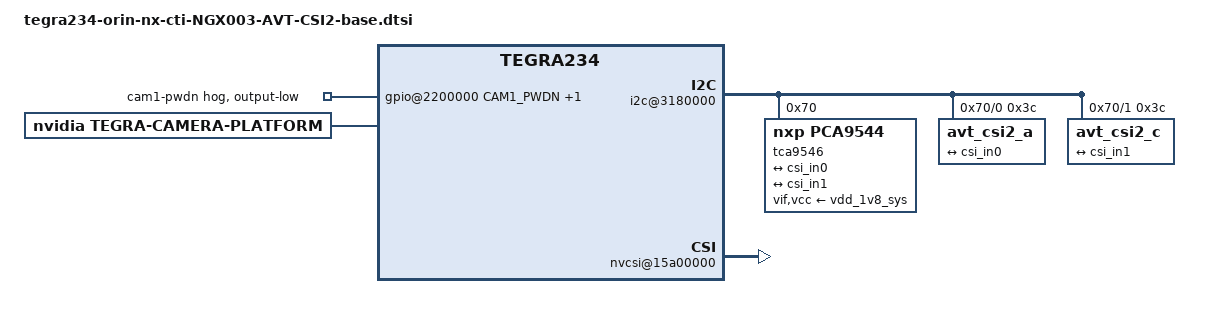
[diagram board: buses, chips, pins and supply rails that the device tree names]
/*
 * Copyright (c) 2018-2019, NVIDIA CORPORATION.  All rights reserved.
 *
 * This program is free software; you can redistribute it and/or modify
 * it under the terms of the GNU General Public License as published by
 * the Free Software Foundation; either version 2 of the License, or
 * (at your option) any later version.
 *
 * This program is distributed in the hope that it will be useful, but WITHOUT
 * ANY WARRANTY; without even the implied warranty of MERCHANTABILITY or
 * FITNESS FOR A PARTICULAR PURPOSE.  See the GNU General Public License for
 * more details.
 *
 * You should have received a copy of the GNU General Public License
 * along with this program.  If not, see <http://www.gnu.org/licenses/>.
 */

#include "dt-bindings/gpio/tegra234-gpio.h"
#define CAM1_PWDN	TEGRA234_MAIN_GPIO(H, 6)
#define CAM2_PWDN   TEGRA234_MAIN_GPIO(AC, 0)

#define CAMERA_I2C_MUX_BUS(x) (0x1E + x)

//tegra sinteface and lane polarity
#define I2C0_SINTERFACE "serial_a"
#define I2C2_SINTERFACE "serial_c"

#define MODE0_I2C0_LANES "2"
#define MODE0_I2C2_LANES "2"

#define I2C0_LANEPOLARITY "6"
#define I2C2_LANEPOLARITY "0"

#define VI_CSI_PORT_INDEX0 <0>
#define VI_CSI_PORT_INDEX2 <2>

//This will serve as the default bus_width...
#define BUS_WIDTH_INDEX0 <2>
#define BUS_WIDTH_INDEX2 <2>

//#define PIX_CLK_HZ "750000000"
#define PIX_CLK_HZ "375000000"

#define AVT_MODE_0 \
    discontinuous_clk = "no";  \
    cil_settletime = "0"; \
    embedded_metadata_height = "0"; \
    mclk_khz = "24000"; \
    phy_mode = "DPHY"; \
    dpcm_enable = "false"; \
    csi_pixel_bit_depth = "4"; \
    active_w = "5488"; \
    active_h = "4112"; \
    pixel_t = "bayer_bggr"; \
    readout_orientation = "0"; \
    line_length = "5488"; \
    inherent_gain = "1"; \
    mclk_multiplier = "31.25"; \
    pix_clk_hz = PIX_CLK_HZ; \
    gain_factor = "16"; \
    framerate_factor = "1000000"; \
    exposure_factor = "1000000"; \
    min_gain_val = "16"; \
    max_gain_val = "256"; \
    step_gain_val = "1"; \
    min_hdr_ratio = "1"; \
    max_hdr_ratio = "64"; \
    min_framerate = "1500000"; \
    max_framerate = "30000000"; \
    step_framerate = "1"; \
    min_exp_time = "34"; \
    max_exp_time = "550385"; \
    step_exp_time = "1";

#define AVT_NODE_COMMON \
    status = "okay"; \
    clocks = <&bpmp_clks TEGRA234_CLK_EXTPERIPH1>, \
             <&bpmp_clks TEGRA234_CLK_PLLP_OUT0>; \
    clock-names = "extperiph1", "pllp_grtba"; \
    mclk = "extperiph1"; \
    compatible = "alliedvision,avt_csi2"; \
    csi_lanes = <2>;

/* camera control gpio definitions */

/ {	

	gpio@2200000 {
		camera-control-output-low {
			gpio-hog;
			output-low;
			gpios = <CAM1_PWDN 0 CAM2_PWDN 0>;
			label = "cam1-pwdn", "cam2-pwdn";
		};
	};
		
	i2c@3180000 {
		//tca9546@70{
		//	status = "disabled";
		//};
	    tca9546@70{
            compatible = "nxp,pca9544";
            reg = <0x70>;
            #address-cells = <1>;
            #size-cells = <0>;
            //skip_mux_detect = "yes";
            vif-supply = <&vdd_1v8_sys>; 
            vcc-supply = <&vdd_1v8_sys>; 
            vcc_lp = "vcc";

            i2c@0{
                reg = <0>;
                i2c-mux,deselect-on-exit;
                avt_csi2_a@3c {
                    AVT_NODE_COMMON
                    devnode = "video0";
                    reg = <0x3c>;
                    mode0 {
                        tegra_sinterface = I2C0_SINTERFACE;
                        num_lanes = MODE0_I2C0_LANES;
                        lane_polarity = I2C0_LANEPOLARITY;
                        vc_id = "0";
                        AVT_MODE_0
                    };
                    ports {
                        #address-cells = <1>;
                        #size-cells = <0>;
                        port@0 {
                            reg = <0>;
                            cam_out0: endpoint {
                                vc-id = <0>;
                                port-index = VI_CSI_PORT_INDEX0;
                                bus-width = BUS_WIDTH_INDEX0;
                                remote-endpoint = <&csi_in0>;
                            };
                        };
                    };
                };
            };
            i2c@1{
                reg = <1>;
                i2c-mux,deselect-on-exit;
                avt_csi2_c@3c {
                   AVT_NODE_COMMON
                    devnode = "video1";
                    reg = <0x3c>;

                    mode0 {
                        tegra_sinterface = I2C2_SINTERFACE;
                        num_lanes = MODE0_I2C2_LANES;
                        lane_polarity = I2C2_LANEPOLARITY;
                        AVT_MODE_0
                        vc_id = "0";
                    };
                    ports {
                        #address-cells = <1>;
                        #size-cells = <0>;
                        port@0 {
                            reg = <0>;
                            cam_out1: endpoint {
                                vc-id = <0>;
                                port-index = VI_CSI_PORT_INDEX2;
                                bus-width = BUS_WIDTH_INDEX2;
                                remote-endpoint = <&csi_in1>;
                            };
                        };
                    };
                
                
                };
            };

	};
};

    tegra-capture-vi {
        num-channels = <2>;
        status = "okay";
        ports {
            #address-cells = <1>;
            #size-cells = <0>;
            port@0 {
                status = "okay";
                reg = <0>;
                vi_in0: endpoint {
                    status = "okay";
                    vc-id = <0>;
                    port-index = VI_CSI_PORT_INDEX0;
                    bus-width = BUS_WIDTH_INDEX0;
                    remote-endpoint = <&csi_out0>;
                };
            };
            port@1 {
                status = "okay";
                reg = <1>;
                vi_in1: endpoint {
                    status = "okay";
                    vc-id = <0>;
                    port-index = VI_CSI_PORT_INDEX2;
                    bus-width = BUS_WIDTH_INDEX2;
                    remote-endpoint = <&csi_out1>;
                };
            };
        };
    };
    host1x@13e00000 {
        nvcsi@15a00000 {
            num-channels = <2>;
            #address-cells = <1>;
            #size-cells = <0>;
            status = "okay";
            channel@0 {
                status = "okay";
                reg = <0>;
                ports {
                    #address-cells = <1>;
                    #size-cells = <0>;
                    status = "okay";
                    port@0 {
                        status = "okay";
                        reg = <0>;
                        csi_in0: endpoint@0 {
                            status = "okay";
                            port-index = VI_CSI_PORT_INDEX0;
                            bus-width = BUS_WIDTH_INDEX0;
                            remote-endpoint = <&cam_out0>;
                        };
                    };
                    port@1 {
                        status = "okay";
                        reg = <1>;
                        csi_out0: endpoint@1 {
                            status = "okay";
                            remote-endpoint = <&vi_in0>;
                        };
                    };
                };
            };
            channel@1 {
                status = "okay";
                reg = <1>;
                ports {
                    #address-cells = <1>;
                    #size-cells = <0>;
                    status = "okay";
                    port@0 {
                        status = "okay";
                        reg = <0>;
                        csi_in1: endpoint@2 {
                            status = "okay";
                            port-index = VI_CSI_PORT_INDEX2;
                            bus-width = BUS_WIDTH_INDEX2;
                            remote-endpoint = <&cam_out1>;
                        };
                    };
                    port@1 {
                        status = "okay";
                        reg = <1>;
                        csi_out1: endpoint@3 {
                            remote-endpoint = <&vi_in1>;
                        };
                    };
                };
            };
        };
    };

    tegra-camera-platform {
        compatible = "nvidia, tegra-camera-platform";

        num_csi_lanes = <8>;
        max_lane_speed = <1500000>;
        min_bits_per_pixel = <10>;
        vi_peak_byte_per_pixel = <2>;
        vi_bw_margin_pct = <25>;
        max_pixel_rate = <240000>;
        isp_peak_byte_per_pixel = <5>;
        isp_bw_margin_pct = <25>;
    };
};

